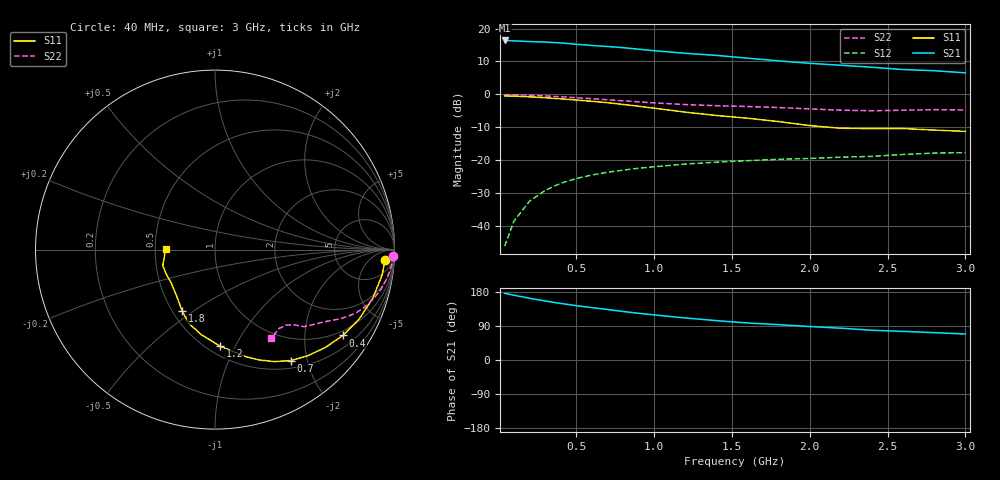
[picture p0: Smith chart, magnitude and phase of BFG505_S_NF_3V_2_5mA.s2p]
! Filename:  BFG505C.S2P  Version:  3.0
! Philips part #: BFG505  Date: Feb 1992
! Bias condition: Vce=3V, Ic=2.5mA
! IN LINE PINNING: same data as with cross emitter pinning.
#  MHz  S  MA  R  50
! Freq  S11  S21  S12  S22  !GUM [dB]
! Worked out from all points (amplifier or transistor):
!   21 points, 40 MHz to 3 GHz, reference 50 ohm
!   highest |S21| = 16.4 dB at 40 MHz (marker M1)
!   |S21| within 3 dB of that: start of sweep to 976.2 MHz
!   unconditionally stable (mu >= 1): 2.25 GHz to 2.758 GHz; 2.809 GHz to end of sweep
!   at 300 MHz: K = 0.17, MSG = 22.5 dB, |S12| = -29.1 dB
!   at 1 GHz: K = 0.48, MSG = 17.6 dB, |S12| = -21.9 dB
!   at 3 GHz: K = 1.08, MAG = 10.4 dB, |S12| = -17.7 dB
!   lowest NFmin = 1.30 dB at 900 MHz
!   S11 on the Smith chart (normalised r, x): 40 MHz: 16, -19; 400 MHz: 0.85, -3.07; 700 MHz: 0.61, -1.73; 1.2 GHz: 0.58, -0.87; 1.8 GHz: 0.56, -0.45; 3 GHz: 0.57, +0.01
40  0.949 -3.5  6.588 176.1  0.005 86.6  0.993 -2.0
100  0.942 -8.7  6.499 170.9  0.012 83.9  0.988 -4.9
200  0.92 -17.1  6.337 163.0  0.024 79.0  0.972 -9.5
300  0.892 -25.6  6.226 155.7  0.035 74.1  0.949 -13.8
400  0.858 -33.9  6.046 149.3  0.045 69.6  0.922 -17.6
500  0.823 -41.3  5.771 143.5  0.053 65.8  0.893 -21.1
600  0.788 -48.4  5.529 138.3  0.06 62.9  0.862 -24.1
700  0.75 -55.5  5.338 133.3  0.066 60.0  0.83 -26.5
800  0.706 -62.1  5.126 128.1  0.071 57.6  0.801 -28.6
900  0.663 -68.1  4.858 123.3  0.076 55.6  0.772 -30.5
1000  0.619 -74.2  4.605 119.0  0.08 53.8  0.745 -32.3
1200  0.539 -86.9  4.21 111.0  0.088 51.6  0.702 -35.9
1400  0.48 -99.2  3.91 103.9  0.094 49.9  0.675 -38.8
1600  0.436 -109.5  3.55 97.7  0.099 49.6  0.656 -40.9
1800  0.388 -118.1  3.232 93.3  0.104 49.8  0.633 -42.1
2000  0.337 -129.1  2.967 88.3  0.107 49.2  0.604 -43.8
2200  0.307 -142.7  2.77 83.9  0.112 48.6  0.577 -46.9
2400  0.304 -154.6  2.585 78.5  0.115 48.6  0.566 -51.0
2600  0.304 -163.0  2.386 75.5  0.123 49.7  0.576 -54.8
2800  0.288 -170.1  2.291 72.2  0.129 50.2  0.588 -56.5
3000  0.275 179.0  2.125 68.6  0.131 51.1  0.582 -57.3
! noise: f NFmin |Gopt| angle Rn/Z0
900  1.3  0.583  19  0.69
2000  1.9  0.473  45  0.55
